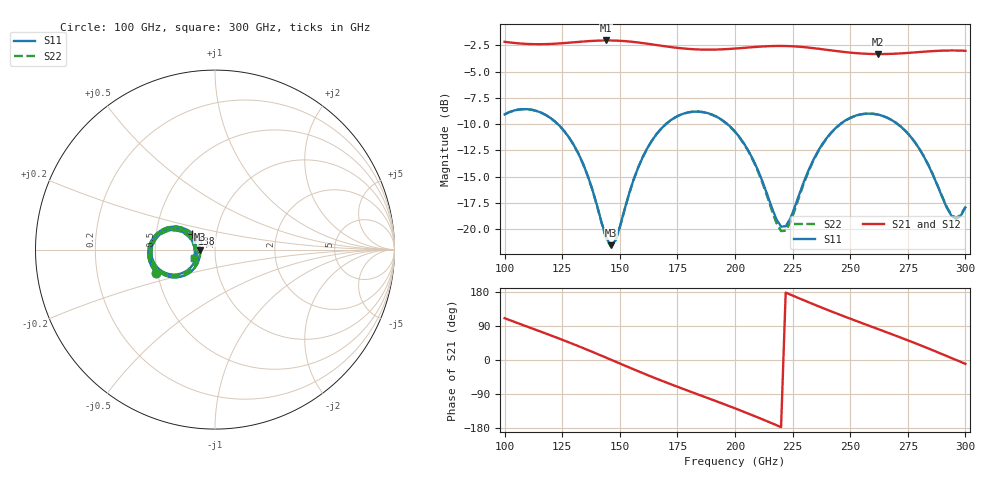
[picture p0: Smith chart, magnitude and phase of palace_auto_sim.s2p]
#  GHZ S DB R 50
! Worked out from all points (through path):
!   101 points, 100 GHz to 300 GHz, reference 50 ohm
!   highest |S21| = -2.02 dB at 144 GHz (marker M1); lowest = -3.3 dB at 262 GHz (marker M2)
!   group delay of S21, straight-line fit = 6.69 ps
!   lowest |S11| = -21.6 dB at 146 GHz (marker M3), VSWR 1.18, Z = 42.3 - j0.088 ohm
!   |S11| at or under -10 dB: 123.1 GHz to 170 GHz (46.87 GHz wide, 32 % of centre); 196.7 GHz to 245.6 GHz (48.93 GHz wide, 22.1 % of centre); 270.6 GHz to end of sweep
!   |S22| runs from -21.6 to -8.6 dB; largest |S21 - S12| = 2.5e-16
!   S11 on the Smith chart (normalised r, x): 100 GHz: 0.49, -0.14; 138 GHz: 0.76, +0.14; 300 GHz: 0.79, -0.08
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100  -9.07 -158.6  -2.15 110.3  -2.15 110.3  -9.07 -158.7
118  -9.14 168.5  -2.37 69.6  -2.37 69.6  -9.15 168.4
134  -13.75 145.5  -2.13 31.7  -2.13 31.7  -13.77 145.2
138  -16.17 145.1  -2.07 21.7  -2.07 21.7  -16.20 144.7
144  -20.77 164.7  -2.02 6.3  -2.02 6.3  -20.84 164.4
146  -21.55 -179.3  -2.02 1.2  -2.02 1.2  -21.63 -179.4
148  -21.13 -162.3  -2.04 -4.0  -2.04 -4.0  -21.20 -162.3
156  -15.28 -137.5  -2.17 -24.6  -2.17 -24.6  -15.30 -137.5
168  -10.42 -150.2  -2.53 -54.2  -2.53 -54.2  -10.43 -150.3
184  -8.80 -177.0  -2.88 -91.0  -2.88 -91.0  -8.81 -177.3
200  -10.71 157.7  -2.79 -127.6  -2.79 -127.6  -10.74 157.1
210  -14.42 149.1  -2.63 -151.8  -2.63 -151.8  -14.52 148.0
220  -19.77 177.1  -2.55 -177.1  -2.55 -177.1  -20.19 176.7
224  -19.00 -158.8  -2.57 172.6  -2.57 172.6  -19.36 -157.7
234  -13.41 -143.7  -2.75 147.3  -2.75 147.3  -13.49 -142.5
248  -9.64 -160.7  -3.14 113.7  -3.14 113.7  -9.66 -160.0
262  -9.08 177.2  -3.32 81.8  -3.32 81.8  -9.09 177.8
268  -9.61 168.1  -3.30 68.2  -3.30 68.2  -9.61 168.6
278  -11.70 155.1  -3.16 44.8  -3.16 44.8  -11.69 155.6
286  -14.88 151.9  -3.04 25.3  -3.04 25.3  -14.86 152.4
294  -18.75 172.3  -2.98 5.1  -2.98 5.1  -18.66 172.7
300  -17.95 -158.1  -3.01 -10.2  -3.01 -10.2  -17.88 -158.3
